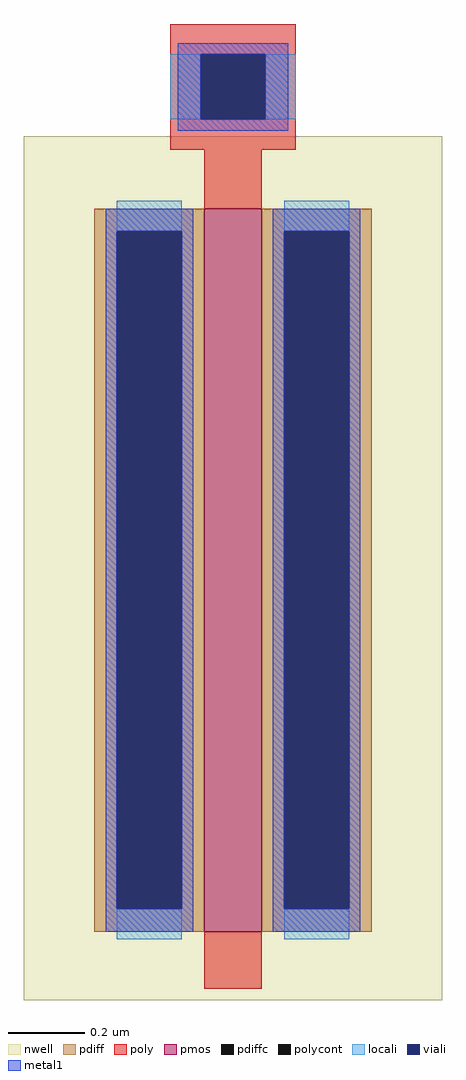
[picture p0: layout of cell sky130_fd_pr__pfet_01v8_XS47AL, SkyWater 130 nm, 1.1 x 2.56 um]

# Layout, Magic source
magic
tech sky130A
magscale 1 2
<< nwell >>
rect -110 -226 110 228
<< pmos >>
rect -15 -190 15 190
<< pdiff >>
rect -73 178 -15 190
rect -73 -178 -61 178
rect -27 -178 -15 178
rect -73 -190 -15 -178
rect 15 178 73 190
rect 15 -178 27 178
rect 61 -178 73 178
rect 15 -190 73 -178
<< pdiffc >>
rect -61 -178 -27 178
rect 27 -178 61 178
<< poly >>
rect -33 271 33 287
rect -33 237 -17 271
rect 17 237 33 271
rect -33 221 33 237
rect -15 190 15 221
rect -15 -220 15 -190
<< polycont >>
rect -17 237 17 271
<< locali >>
rect -33 237 -17 271
rect 17 237 33 271
rect -61 178 -27 194
rect -61 -194 -27 -178
rect 27 178 61 194
rect 27 -194 61 -178
<< viali >>
rect -17 237 17 271
rect -61 -178 -27 178
rect 27 -178 61 178
<< metal1 >>
rect -29 271 29 277
rect -29 237 -17 271
rect 17 237 29 271
rect -29 231 29 237
rect -67 178 -21 190
rect -67 -178 -61 178
rect -27 -178 -21 178
rect -67 -190 -21 -178
rect 21 178 67 190
rect 21 -178 27 178
rect 61 -178 67 178
rect 21 -190 67 -178
<< properties >>
string FIXED_BBOX -158 -356 158 356
string gencell sky130_fd_pr__pfet_01v8
string library sky130
string parameters w 1.9 l 0.15 m 1 nf 1 diffcov 100 polycov 100 guard 1 glc 1 grc 1 gtc 1 gbc 1 tbcov 100 rlcov 100 topc 1 botc 1 poverlap 0 doverlap 1 lmin 0.15 wmin 0.42 compatible {sky130_fd_pr__pfet_01v8  sky130_fd_pr__pfet_01v8_lvt sky130_fd_pr__pfet_01v8_hvt  sky130_fd_pr__pfet_g5v0d10v5} full_metal 1 viasrc 100 viadrn 100 viagate 100 viagb 0 viagr 0 viagl 0 viagt 0
<< end >>
